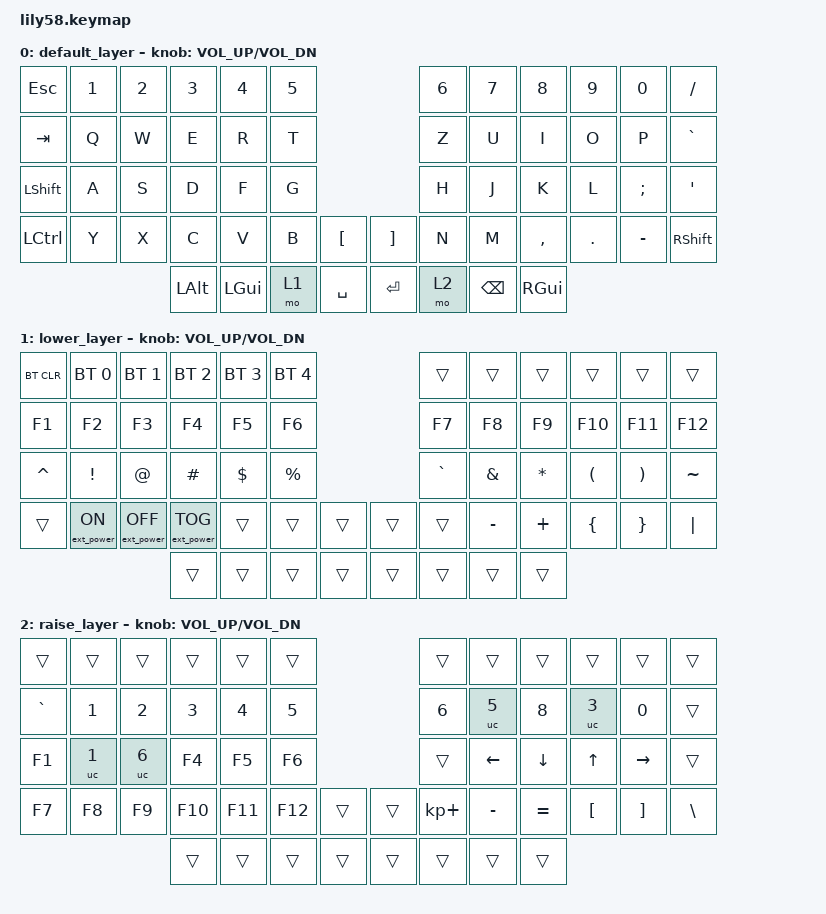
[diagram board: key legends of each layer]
/*
 * Copyright (c) 2020 The ZMK Contributors
 *
 * SPDX-License-Identifier: MIT
 */

#include <behaviors.dtsi>
#include <dt-bindings/zmk/keys.h>
#include <dt-bindings/zmk/bt.h>
#include <dt-bindings/zmk/ext_power.h>

/ {

    /* ---------- Unicode‑Map ---------- */
    /* ä  Ä  ö  Ö  ü  Ü  ß */
    unicode_map {
        compatible = "zmk,unicode-map";
        map = < 0x00E4 0x00C4 0x00F6 0x00D6 0x00FC 0x00DC 0x00DF >;
    };

    uc: uc {
        compatible = "zmk,behavior-unicode";
        #binding-cells = <1>;
    };

    keymap {
        compatible = "zmk,keymap";

        default_layer {
// ------------------------------------------------------------------------------------------------------------
// |  ESC  |  1  |  2  |  3   |  4   |  5   |                   |  6   |  7    |  8    |  9   |   0   |   /   |
// |  TAB  |  Q  |  W  |  E   |  R   |  T   |                   |  Z   |  U    |  I    |  O   |   P   |   ´   |
// | SHIFT |  A  |  S  |  D   |  F   |  G   |                   |  H   |  J    |  K    |  L   |   ;   |   '   |
// |  CTRL |  Y  |  X  |  C   |  V   |  B   |   "["  |  |  "]"  |  N   |  M    |  ,    |  .   |   -   | SHIFT |
//                     | ALT  | GUI  | LOWER|  SPACE |  | ENTER | RAISE| BSPC  | GUI   |
            bindings = <
&kp ESC   &kp N1 &kp N2 &kp N3   &kp N4   &kp N5                     &kp N6 &kp N7   &kp N8    &kp N9  &kp N0   &kp FSLH
&kp TAB   &kp Q  &kp W  &kp E    &kp R    &kp T                      &kp Z  &kp U    &kp I     &kp O   &kp P    &kp GRAVE
&kp LSHFT &kp A  &kp S  &kp D    &kp F    &kp G                      &kp H  &kp J    &kp K     &kp L   &kp SEMI &kp SQT
&kp LCTRL &kp Y  &kp X  &kp C    &kp V    &kp B  &kp LBKT   &kp RBKT &kp N  &kp M    &kp COMMA &kp DOT &kp MINUS &kp RSHFT
                        &kp LALT &kp LGUI &mo 1  &kp SPACE  &kp RET  &mo 2  &kp BSPC &kp RGUI
            >;

            sensor-bindings = <&inc_dec_kp C_VOL_UP C_VOL_DN>;
        };

        lower_layer {
// ------------------------------------------------------------------------------------------------------------
// | BTCLR | BT1 | BT2 |  BT3 |  BT4 |  BT5 |                   |      |       |       |      |       |       |
// |  F1   |  F2 |  F3 |  F4  |  F5  |  F6  |                   |  F7  |  F8   |  F9   |  F10 |  F11  |  F12  |
// |   ^   |  !  |  @  |  #   |  $   |  %   |                   |  `   |  &    |  *    |  (   |   )   |   ~   |
// |       |     |     |      |      |      |        |  |       |      |  _    |  +    |  {   |   }   |  "|"  |
//                     |      |      |      |        |  |       |      |       |       |
            bindings = <
&bt BT_CLR &bt BT_SEL 0     &bt BT_SEL 1      &bt BT_SEL 2      &bt BT_SEL 3 &bt BT_SEL 4                 &trans    &trans    &trans    &trans    &trans    &trans
&kp F1     &kp F2           &kp F3            &kp F4            &kp F5       &kp F6                       &kp F7    &kp F8    &kp F9    &kp F10   &kp F11   &kp F12
&kp CARET  &kp EXCL         &kp AT            &kp HASH          &kp DOLLAR   &kp PRCNT                    &kp GRAVE &kp AMPS  &kp ASTRK &kp LPAR  &kp RPAR  &kp TILDE
&trans     &ext_power EP_ON &ext_power EP_OFF &ext_power EP_TOG &trans       &trans    &trans   &trans    &trans    &kp MINUS &kp PLUS  &kp LBRC  &kp RBRC  &kp PIPE
                                              &trans            &trans       &trans    &trans   &trans    &trans    &trans    &trans
            >;

            sensor-bindings = <&inc_dec_kp C_VOL_UP C_VOL_DN>;
        };

        raise_layer {
// ------------------------------------------------------------------------------------------------------------
// |       |     |     |      |      |      |                   |      |       |       |      |       |       |
// |   `   |  1  |  2  |  3   |  4   |  5   |                   |  6   |   Ü   |   8   |  Ö   |   0   |       |
// |   F1  |  Ä |  F3 |  F4  |  F5  |  F6  |                   |      |   <-  |   v   |  ^   |  ->   |       |
// |   F7  |  F8 |  F9 |  F10 |  F11 |  F12 |        |  |       |  +   |   -   |   =   |  [   |   ]   |   \   |
//                     |      |      |      |        |  |       |      |       |       |
            bindings = <
&trans    &trans &trans &trans  &trans  &trans                       &trans      &trans    &trans    &trans   &trans    &trans
&kp GRAVE &kp N1 &kp N2 &kp N3  &kp N4  &kp N5                       &kp N6      &uc 5    &kp N8    &uc 3   &kp N0    &trans
&kp F1    &uc 1 &uc 6 &kp F4  &kp F5  &kp F6                       &trans      &kp LEFT  &kp DOWN  &kp UP   &kp RIGHT &trans
&kp F7    &kp F8 &kp F9 &kp F10 &kp F11 &kp F12   &trans   &trans    &kp KP_PLUS &kp MINUS &kp EQUAL &kp LBKT &kp RBKT  &kp BSLH
                        &trans  &trans  &trans    &trans   &trans    &trans      &trans    &trans
            >;

            sensor-bindings = <&inc_dec_kp C_VOL_UP C_VOL_DN>;
        };
    };
};
